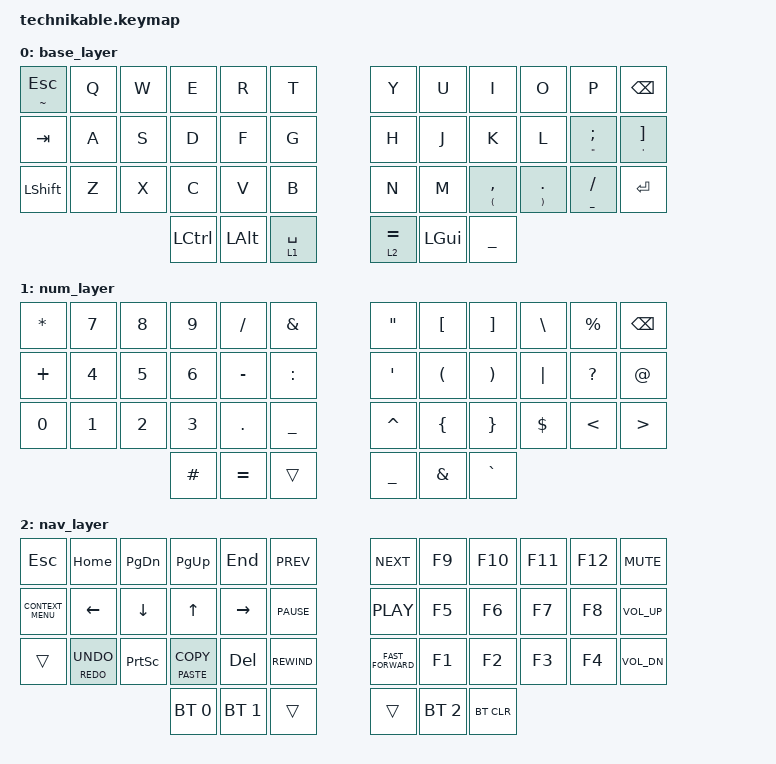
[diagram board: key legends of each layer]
/*
 * Copyright (c) 2022 Pete Johanson
 *
 * SPDX-License-Identifier: MIT
 */

#include <behaviors.dtsi>
#include <dt-bindings/zmk/bt.h>
#include <dt-bindings/zmk/keys.h>

#define BAS_L 0
#define NAV_L 1
#define NUM_L 2
#define SYM_L 3

// Using layer taps on thumbs, having quick tap as well helps w/ repeating space/backspace

&lt {
    quick_tap_ms = <200>;
    tapping-term-ms = <200>;
};

/ {
    chosen { zmk,matrix_transform = &dual_2u_transform; };

    conditional_layers { compatible = "zmk,conditional-layers"; };

    macros {
        taskmanager: taskmanager {
            compatible = "zmk,behavior-macro";
            #binding-cells = <0>;
            bindings = <&kp LEFT_CONTROL &kp LEFT_SHIFT &kp ESCAPE>;
            label = "TASKMANAGER";
        };

        Copy: Copy {
            compatible = "zmk,behavior-macro";
            #binding-cells = <0>;
            bindings = <&kp LC(S)>;
            label = "COPY";
        };

        Paste: Paste {
            compatible = "zmk,behavior-macro";
            #binding-cells = <0>;
            bindings = <&kp LS(V)>;
            label = "PASTE";
        };
    };

    combos { compatible = "zmk,combos"; };

    keymap {
        compatible = "zmk,keymap";

        base_layer {
            bindings = <
&mt TILDE ESCAPE  &kp Q  &kp W      &kp E         &kp R        &kp T               &kp Y  &kp U         &kp I                       &kp O                      &kp P                   &kp BACKSPACE
&kp TAB           &kp A  &kp S      &kp D         &kp F        &kp G               &kp H  &kp J         &kp K                       &kp L                      &mt DOUBLE_QUOTES SEMI  &mt SINGLE_QUOTE RIGHT_BRACKET
&kp LSHFT         &kp Z  &kp X      &kp C         &kp V        &kp B               &kp N  &kp M         &mt LEFT_PARENTHESIS COMMA  &mt RIGHT_PARENTHESIS DOT  &mt UNDER FSLH          &kp RET
                         &kp LCTRL  &kp LEFT_ALT  &lt 1 SPACE         &lt 2 EQUAL         &kp LEFT_GUI  &kp UNDER
            >;
        };

        num_layer {
            bindings = <
&kp ASTRK     &kp NUMBER_7  &kp NUMBER_8  &kp NUMBER_9  &kp SLASH  &kp AMPS              &kp DOUBLE_QUOTES  &kp LEFT_BRACKET      &kp RIGHT_BRACKET      &kp BACKSLASH  &kp PERCENT    &kp BACKSPACE
&kp PLUS      &kp NUMBER_4  &kp NUMBER_5  &kp NUMBER_6  &kp MINUS  &kp COLON             &kp SINGLE_QUOTE   &kp LEFT_PARENTHESIS  &kp RIGHT_PARENTHESIS  &kp PIPE       &kp QUESTION   &kp AT
&kp NUMBER_0  &kp NUMBER_1  &kp NUMBER_2  &kp NUMBER_3  &kp DOT    &kp UNDER             &kp CARET          &kp LEFT_BRACE        &kp RIGHT_BRACE        &kp DOLLAR     &kp LESS_THAN  &kp GREATER_THAN
                            &kp HASH      &kp EQUAL     &trans                &kp UNDER                     &kp AMPS              &kp GRAVE
            >;
        };

        nav_layer {
            bindings = <
&kp ESCAPE          &kp HOME           &kp PAGE_DOWN    &kp PG_UP           &kp END    &kp C_PREV            &kp C_NEXT          &kp F9        &kp F10     &kp F11  &kp F12  &kp K_MUTE
&kp K_CONTEXT_MENU  &kp LEFT_ARROW     &kp DOWN         &kp UP_ARROW        &kp RIGHT  &kp C_PAUSE           &kp C_PLAY          &kp F5        &kp F6      &kp F7   &kp F8   &kp C_VOLUME_UP
&trans              &mt K_REDO K_UNDO  &kp PRINTSCREEN  &mt K_PASTE K_COPY  &kp DEL    &kp C_REWIND          &kp C_FAST_FORWARD  &kp F1        &kp F2      &kp F3   &kp F4   &kp C_VOL_DN
                                       &bt BT_SEL 0     &bt BT_SEL 1        &trans                   &trans                      &bt BT_SEL 2  &bt BT_CLR
            >;
        };
    };
};
